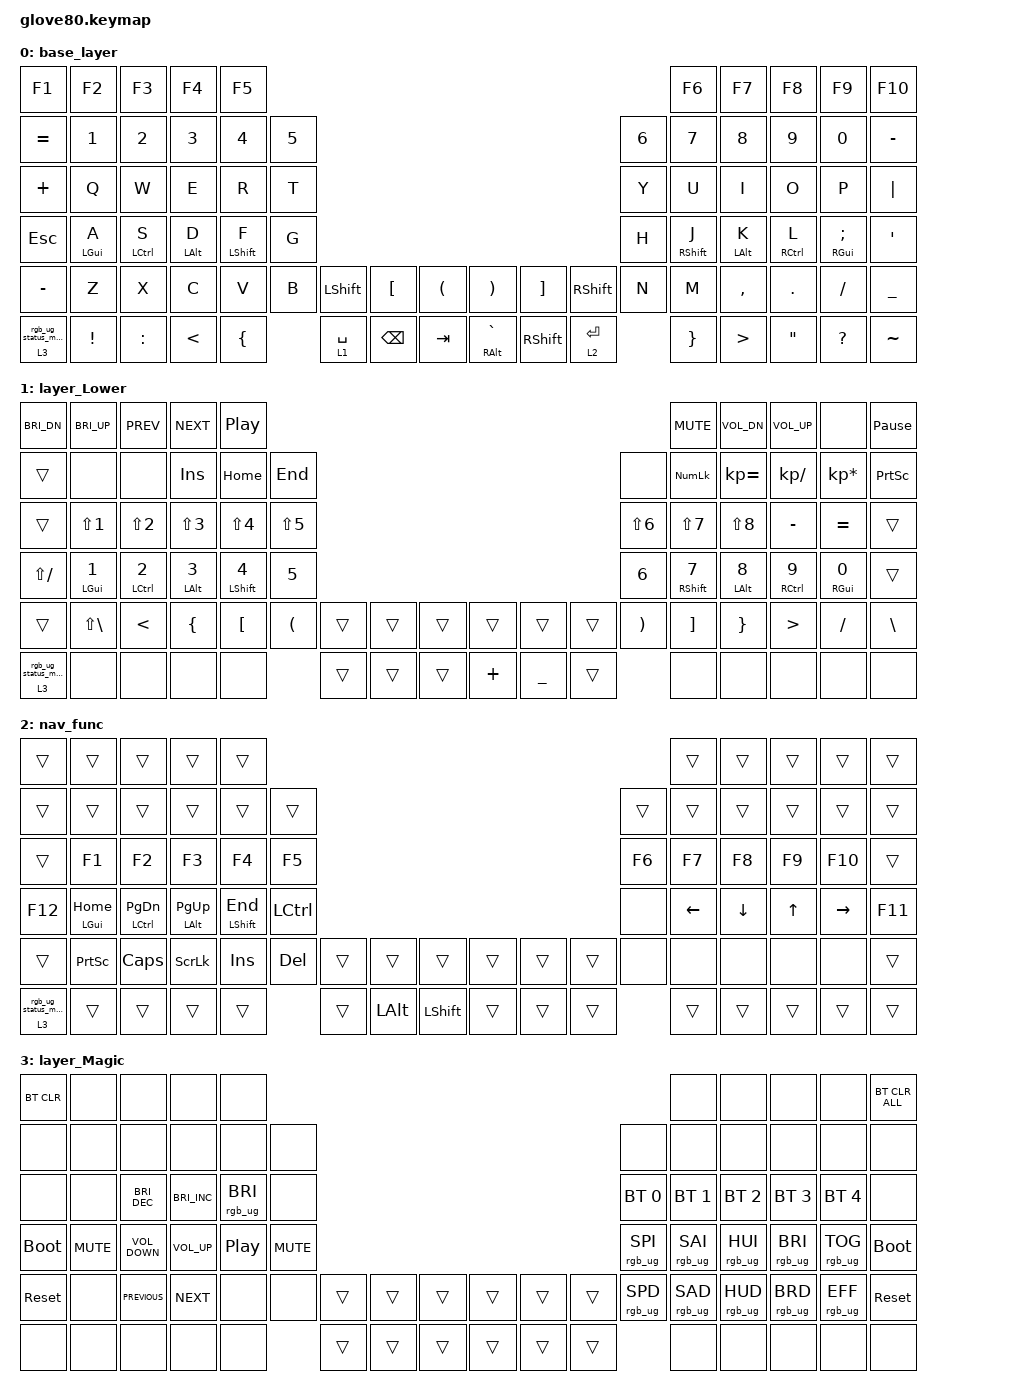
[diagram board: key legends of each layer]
/*
 * Copyright (c) 2020 The ZMK Contributors
 * Copyright (c) 2022 Innaworks Development Limited, trading as MoErgo
 *
 * SPDX-License-Identifier: MIT
 */
/* Include all behaviour includes needed by system behaviors/macros */
/* Include behaviour includes needed by key binds - automatically generated */

#include <behaviors.dtsi>
#include <dt-bindings/zmk/bt.h>
#include <dt-bindings/zmk/keys.h>
#include <dt-bindings/zmk/rgb.h>

/ {
    /* Glove80 system behavior & macros */

    behaviors {
        // For the "layer" key, it'd nice to be able to use it as either a shift or a toggle.
        // Configure it as a tap dance, so the first tap (or hold) is a &mo and the second tap is a &to

        lower: tap_dance_0 {
            compatible = "zmk,behavior-tap-dance";
            label = "LAYER_TAP_DANCE";
            #binding-cells = <0>;
            tapping-term-ms = <200>;
            bindings = <&mo 1>, <&to 1>;
        };

        bhm: homerow_mods {
            compatible = "zmk,behavior-hold-tap";
            label = "HOMEROW_MODS";
            #binding-cells = <2>;
            tapping-term-ms = <250>;
            flavor = "tap-preferred";
            bindings = <&kp>, <&kp>;
        };

        shm: shift_hr_mod {
            compatible = "zmk,behavior-hold-tap";
            label = "SHIFT_HOMEROW_MODS";
            #binding-cells = <2>;
            tapping-term-ms = <120>;
            flavor = "tap-preferred";
            bindings = <&kp>, <&kp>;
        };
    };

    macros {
        rgb_ug_status_macro: rgb_ug_status_macro_0 {
            label = "RGB_UG_STATUS";
            compatible = "zmk,behavior-macro";
            #binding-cells = <0>;
            bindings = <&rgb_ug RGB_STATUS>;
        };
    };

    /* macros { */
    /*     bt_0: bt_profile_macro_0 { */
    /*         label = "BT_0"; */
    /*         compatible = "zmk,behavior-macro"; */
    /*         #binding-cells = <0>; */
    /*         bindings */
    /*             = <&out OUT_BLE>, */
    /*               <&bt BT_SEL 0>; */
    /*     }; */
    /* }; */
    /* macros { */
    /*     bt_1: bt_profile_macro_1 { */
    /*         label = "BT_1"; */
    /*         compatible = "zmk,behavior-macro"; */
    /*         #binding-cells = <0>; */
    /*         bindings */
    /*             = <&out OUT_BLE>, */
    /*               <&bt BT_SEL 1>; */
    /*     }; */
    /* }; */
    /* macros { */
    /*     bt_2: bt_profile_macro_2 { */
    /*         label = "BT_2"; */
    /*         compatible = "zmk,behavior-macro"; */
    /*         #binding-cells = <0>; */
    /*         bindings */
    /*             = <&out OUT_BLE>, */
    /*               <&bt BT_SEL 2>; */
    /*     }; */
    /* }; */
    /* macros { */
    /*     bt_3: bt_profile_macro_3 { */
    /*         label = "BT_3"; */
    /*         compatible = "zmk,behavior-macro"; */
    /*         #binding-cells = <0>; */
    /*         bindings */
    /*             = <&out OUT_BLE>, */
    /*               <&bt BT_SEL 3>; */
    /*     }; */
    /* }; */

    magic: magic_hold_tap {
        compatible = "zmk,behavior-hold-tap";
        label = "MAGIC_HOLD_TAP";
        #binding-cells = <2>;
        flavor = "tap-preferred";
        tapping-term-ms = <200>;
        bindings = <&mo>, <&rgb_ug_status_macro>;
    };

    /* Custom Defined Behaviors */
    /* Automatically generated keymap */

    combos {
        compatible = "zmk,combos";

        undo {
            bindings = <&kp LC(Z)>;
            key-positions = <47 48>;
        };

        cut {
            bindings = <&kp LC(X)>;
            key-positions = <48 49>;
        };

        copy {
            bindings = <&kp LC(C)>;
            key-positions = <48 50>;
        };

        paste {
            bindings = <&kp LC(V)>;
            key-positions = <49 50>;
        };
    };

    keymap {
        compatible = "zmk,keymap";

        base_layer {
            bindings = <
&kp F1      &kp F2       &kp F3        &kp F4         &kp F5                                                                                                                                      &kp F6           &kp F7            &kp F8             &kp F9          &kp F10
&kp EQUAL   &kp N1       &kp N2        &kp N3         &kp N4          &kp N5                                                                                                              &kp N6  &kp N7           &kp N8            &kp N9             &kp N0          &kp MINUS
&kp PLUS    &kp Q        &kp W         &kp E          &kp R           &kp T                                                                                                               &kp Y   &kp U            &kp I             &kp O              &kp P           &kp PIPE
&kp ESC     &bhm LGUI A  &bhm LCTRL S  &bhm LALT D    &bhm LSHIFT F   &kp G                                                                                                               &kp H   &bhm RSHIFT J    &bhm LALT K       &bhm RCTRL L       &bhm RGUI SEMI  &kp APOS
&kp MINUS   &kp Z        &kp X         &kp C          &kp V           &kp B   &kp LSHIFT   &kp LEFT_BRACKET  &kp LEFT_PARENTHESIS  &kp RIGHT_PARENTHESIS  &kp RIGHT_BRACKET  &kp RSHIFT   &kp N   &kp M            &kp COMMA         &kp DOT            &kp FSLH        &kp UNDER
&magic 3 0  &kp EXCL     &kp COLON     &kp LESS_THAN  &kp LEFT_BRACE          &lt 1 SPACE  &kp BSPC          &kp TAB               &bhm RIGHT_ALT GRAVE   &kp RSHIFT         &lt 2 ENTER          &kp RIGHT_BRACE  &kp GREATER_THAN  &kp DOUBLE_QUOTES  &kp QMARK       &kp TILDE
            >;
        };

        layer_Lower {
            bindings = <
&kp C_BRI_DN   &kp C_BRI_UP  &kp C_PREV     &kp C_NEXT      &kp C_PP                                                                                                            &kp C_MUTE         &kp C_VOL_DN     &kp C_VOL_UP      &none            &kp PAUSE_BREAK
&trans         &none         &none          &kp INS         &kp HOME          &kp END                                                                    &none                  &kp KP_NUM         &kp KP_EQUAL     &kp KP_SLASH      &kp KP_MULTIPLY  &kp PRINTSCREEN
&trans         &kp LS(N1)    &kp LS(N2)     &kp LS(N3)      &kp LS(N4)        &kp LS(N5)                                                                 &kp LS(N6)             &kp LS(N7)         &kp LS(N8)       &kp MINUS         &kp EQUAL        &trans
&kp LS(SLASH)  &bhm LGUI N1  &bhm LCTRL N2  &bhm LALT N3    &bhm LSHIFT N4    &kp N5                                                                     &kp N6                 &bhm RSHIFT N7     &bhm LALT N8     &bhm RCTRL N9     &bhm RGUI N0     &trans
&trans         &kp LS(BSLH)  &kp LESS_THAN  &kp LEFT_BRACE  &kp LEFT_BRACKET  &kp LEFT_PARENTHESIS  &trans  &trans  &trans  &trans    &trans     &trans  &kp RIGHT_PARENTHESIS  &kp RIGHT_BRACKET  &kp RIGHT_BRACE  &kp GREATER_THAN  &kp FSLH         &kp BSLH
&magic 3 0     &none         &none          &none           &none                                   &trans  &trans  &trans  &kp PLUS  &kp UNDER  &trans                         &none              &none            &none             &none            &none
            >;
        };

        nav_func {
            bindings = <
&trans      &trans              &trans            &trans           &trans                                                                                                &trans    &trans    &trans  &trans     &trans
&trans      &trans              &trans            &trans           &trans               &trans                                                                   &trans  &trans    &trans    &trans  &trans     &trans
&trans      &kp F1              &kp F2            &kp F3           &kp F4               &kp F5                                                                   &kp F6  &kp F7    &kp F8    &kp F9  &kp F10    &trans
&kp F12     &bhm LEFT_GUI HOME  &bhm LCTRL PG_DN  &bhm LALT PG_UP  &bhm LEFT_SHIFT END  &kp LCTRL                                                                &none   &kp LEFT  &kp DOWN  &kp UP  &kp RIGHT  &kp F11
&trans      &kp PRINTSCREEN     &kp CLCK          &kp SCROLLLOCK   &kp INSERT           &kp DEL    &trans  &trans        &trans          &trans  &trans  &trans  &none   &none     &none     &none   &none      &trans
&magic 3 0  &trans              &trans            &trans           &trans                          &trans  &kp LEFT_ALT  &kp LEFT_SHIFT  &trans  &trans  &trans          &trans    &trans    &trans  &trans     &trans
            >;
        };

        layer_Magic {
            bindings = <
&bt BT_CLR   &none       &none                 &none                 &none                                                                                          &none            &none            &none            &none            &bt BT_CLR_ALL
&none        &none       &none                 &none                 &none             &none                                                       &none            &none            &none            &none            &none            &none
&none        &none       &kp C_BRIGHTNESS_DEC  &kp C_BRIGHTNESS_INC  &rgb_ug RGB_BRI   &none                                                       &bt BT_SEL 0     &bt BT_SEL 1     &bt BT_SEL 2     &bt BT_SEL 3     &bt BT_SEL 4     &none
&bootloader  &kp K_MUTE  &kp C_VOLUME_DOWN     &kp C_VOLUME_UP       &kp C_PLAY_PAUSE  &kp C_MUTE                                                  &rgb_ug RGB_SPI  &rgb_ug RGB_SAI  &rgb_ug RGB_HUI  &rgb_ug RGB_BRI  &rgb_ug RGB_TOG  &bootloader
&sys_reset   &none       &kp C_PREVIOUS        &kp C_NEXT            &none             &none       &trans  &trans  &trans  &trans  &trans  &trans  &rgb_ug RGB_SPD  &rgb_ug RGB_SAD  &rgb_ug RGB_HUD  &rgb_ug RGB_BRD  &rgb_ug RGB_EFF  &sys_reset
&none        &none       &none                 &none                 &none                         &trans  &trans  &trans  &trans  &trans  &trans                   &none            &none            &none            &none            &none
            >;
        };
    };
};
